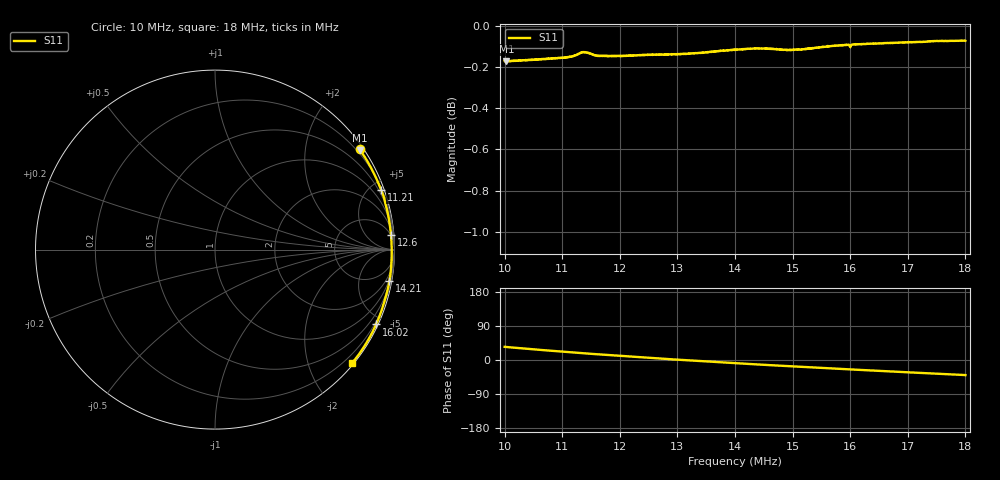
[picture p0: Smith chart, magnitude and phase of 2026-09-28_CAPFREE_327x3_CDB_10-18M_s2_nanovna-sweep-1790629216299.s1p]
! NanoVNA Web complex sweep
! Processing: unaveraged complex samples; linear segment spacing; no smoothing
# Hz S RI R 50
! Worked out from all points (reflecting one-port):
!   1010 points, 10 MHz to 18 MHz, reference 50 ohm
!   lowest |S11| = -0.2 dB at 10.03 MHz (marker M1), VSWR 100.78, Z = 5.69 + j162 ohm
!   phase of S11 starts at 35 deg and turns -75 deg over the sweep
!   S11 on the Smith chart (normalised r, x): 10 MHz: 0.11, +3.19; 11.21 MHz: 0.28, +5.76; 12.6 MHz: 4, +23; 14.21 MHz: 1, -11; 16.02 MHz: 0.11, -4.52; 18 MHz: 0.04, -2.76
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1e7  0.8056 0.5592
1.003172e7  0.8096 0.5529
1.027752e7  0.8405 0.5059
1.050746e7  0.8658 0.4619
1.076118e7  0.8904 0.4135
1.100698e7  0.9112 0.3676
1.120521e7  0.9262 0.331
1.134793e7  0.9368 0.3056
1.145101e7  0.9426 0.2858
1.163337e7  0.9509 0.2514
1.200604e7  0.9659 0.1844
1.229941e7  0.9748 0.1331
1.260071e7  0.9808 0.0816
1.300509e7  0.9844 0.0144
1.328261e7  0.9843 -0.0302
1.356805e7  0.9828 -0.0752
1.400414e7  0.9766 -0.1427
1.42103e7  0.9719 -0.1737
1.463054e7  0.959 -0.2352
1.50032e7  0.9445 -0.2859
1.554237e7  0.9219 -0.3568
1.600225e7  0.8972 -0.4144
1.601811e7  0.8972 -0.4171
1.647006e7  0.8706 -0.4717
1.700131e7  0.8361 -0.5318
1.758805e7  0.7941 -0.5939
1.795279e7  0.766 -0.63
1.800036e7  0.7622 -0.6345
